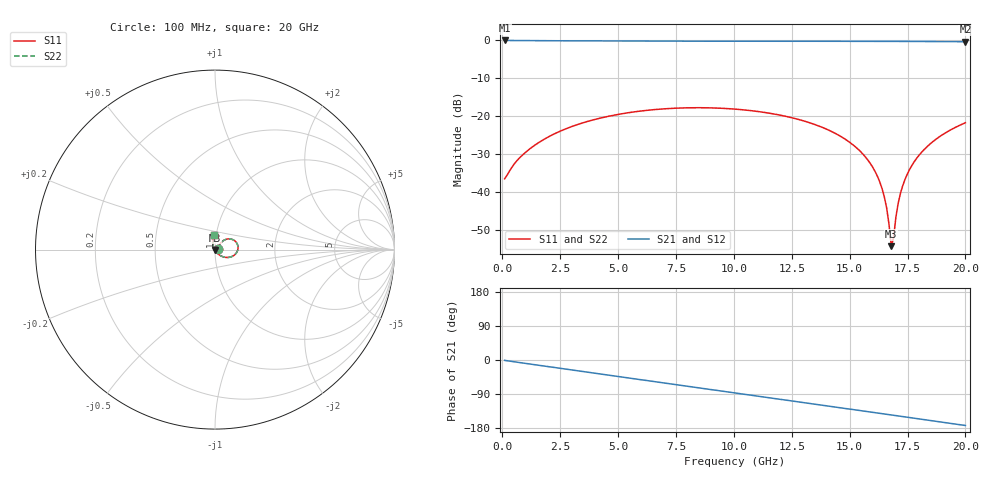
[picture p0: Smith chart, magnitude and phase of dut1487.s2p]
! Touchstone file exported from HFSS 2026.1.0
!  File:  C:/ffzhzh/LocalFiles/Ansys_Project_Files/temp_train_TSV_RDL_1487_1783363810_37376.aedt
!  Generated:  02:59:27 AM Jul  7, 2026
!  Design:  TSV_RDL
!  Project:  temp_train_TSV_RDL_1487_1783363810_37376
! Variables:
!  h_bsmrdl = 2.96um
!  h_ox = 20um
!  h_rdl = 5um
!  h_sub = 87.43um
!  h_tmrdl = 2.03um
!  h_tsv = 87.43um
!  h_via = 3um
!  l_bsmrdl = 241.54um
!  l_sub = 2422.1um
!  l_tmrdl = 292.57um
!  m_sub = 200um
!  pitch = 35.79um
!  r_tsv = 14.07um
!  s_tmrdl = 10um
!  w_bsmrdl = 18.23um
!  w_sub = 500um
!  w_tmrdl = 24.17um
!  x_tsv_center1 = 304.655um
!  x_tsv_center2 = 564.425um
!  x_tsv_center3 = 881.165um
!  x_tsv_center4 = 1140.935um
!  x_tsv_center5 = 1457.675um
!  x_tsv_center6 = 1717.445um
# GHz S MA R 50.000000
! Terminal data exported
! Port[1] = TM_RDL1_1_T1
! Port[2] = TM_RDL5_1_T1
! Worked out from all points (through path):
!   200 points, 100 MHz to 20 GHz, reference 50 ohm
!   highest |S21| = -0.13 dB at 100 MHz (marker M1); lowest = -0.5 dB at 20 GHz (marker M2)
!   group delay of S21, straight-line fit = 23.9 ps
!   lowest |S11| = -54.1 dB at 16.8 GHz (marker M3), VSWR 1.00, Z = 49.9 - j0.156 ohm
!   |S11| at or under -10 dB: start of sweep to end of sweep
!   |S22| runs from -54.5 to -17.8 dB; largest |S21 - S12| = 8.6e-13
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0.1  0.01506 12.9  0.9854 -0.9  0.9854 -0.9  0.01506 12.9
! Gamma 0 0 0 0
! Port Impedance 50 0 50 0
0.6  0.02536 39.7  0.9819 -5.5  0.9819 -5.5  0.02536 39.7
1.3  0.03951 47.6  0.9791 -11.6  0.9791 -11.6  0.03951 47.6
2.3  0.05964 48.5  0.9764 -20.2  0.9764 -20.2  0.05963 48.5
3.5  0.08217 43.5  0.9733 -30.6  0.9733 -30.6  0.08217 43.5
6.8  0.1236 20.7  0.9657 -58.9  0.9657 -58.9  0.1236 20.7
10.1  0.1234 -5.7  0.962 -87.1  0.962 -87.1  0.1234 -5.6
13.4  0.0796 -33.5  0.9616 -115.5  0.9616 -115.5  0.07961 -33.5
14.8  0.05011 -46.1  0.961 -127.6  0.961 -127.6  0.05011 -46.0
15.8  0.02627 -56.4  0.9601 -136.3  0.9601 -136.3  0.02627 -56.2
16.1  0.0188 -60.6  0.9597 -138.9  0.9597 -138.9  0.01879 -60.3
16.4  0.01124 -66.8  0.9592 -141.5  0.9592 -141.5  0.01123 -66.4
16.6  0.006224 -76.2  0.9589 -143.3  0.9589 -143.3  0.006199 -75.3
16.7  0.003827 -88.3  0.9587 -144.1  0.9587 -144.1  0.003783 -87.0
16.8  0.001968 -127.5  0.9585 -145.0  0.9585 -145.0  0.001878 -126.3
16.9  0.00256 163.0  0.9583 -145.9  0.9583 -145.9  0.00249 161.4
17  0.004776 139.5  0.9581 -146.8  0.9581 -146.8  0.004738 138.4
17.2  0.009819 126.2  0.9577 -148.5  0.9577 -148.5  0.009801 125.6
17.4  0.01501 120.8  0.9573 -150.2  0.9573 -150.2  0.015 120.4
17.7  0.02287 115.9  0.9565 -152.8  0.9565 -152.8  0.02286 115.6
18.6  0.04647 105.9  0.9541 -160.7  0.9541 -160.7  0.04647 105.8
20  0.08195 93.1  0.9493 -172.8  0.9493 -172.8  0.08197 93.0
